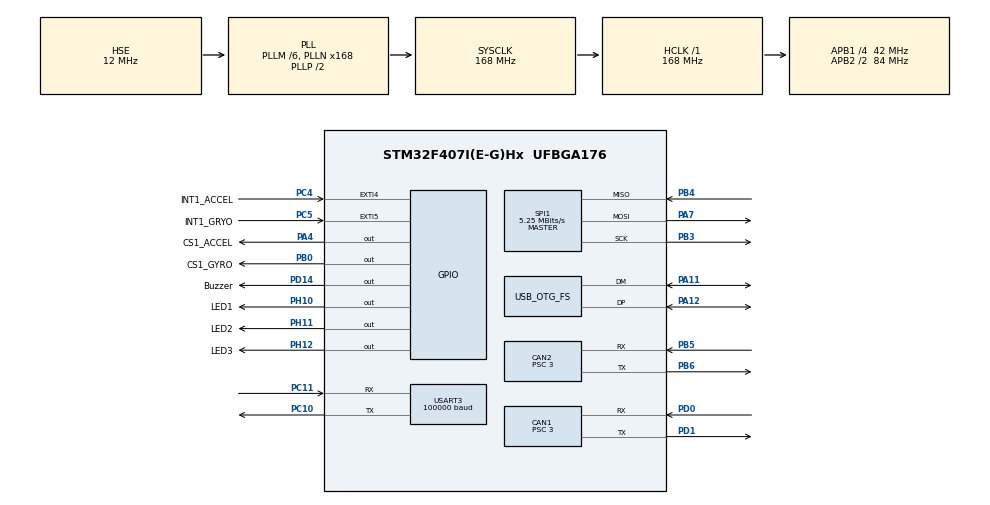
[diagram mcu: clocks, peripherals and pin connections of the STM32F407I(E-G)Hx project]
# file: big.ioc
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CAN1.ABOM=ENABLE
CAN1.AWUM=ENABLE
CAN1.BS1=CAN_BS1_10TQ
CAN1.BS2=CAN_BS2_3TQ
CAN1.CalculateBaudRate=1000000
CAN1.CalculateTimeBit=1000
CAN1.CalculateTimeQuantum=71.42857142857143
CAN1.Prescaler=3
CAN1.TXFP=ENABLE
CAN2.ABOM=ENABLE
CAN2.AWUM=ENABLE
CAN2.BS1=CAN_BS1_10TQ
CAN2.BS2=CAN_BS2_3TQ
CAN2.CalculateBaudRate=1000000
CAN2.CalculateTimeBit=1000
CAN2.CalculateTimeQuantum=71.42857142857143
CAN2.Prescaler=3
CAN2.TXFP=ENABLE
Dma.Request0=SPI1_RX
Dma.Request1=SPI1_TX
Dma.Request2=USART3_RX
Dma.SPI1_RX.0.Direction=DMA_PERIPH_TO_MEMORY
Dma.SPI1_RX.0.FIFOMode=DMA_FIFOMODE_DISABLE
Dma.SPI1_RX.0.Instance=DMA2_Stream0
Dma.SPI1_RX.0.MemDataAlignment=DMA_MDATAALIGN_BYTE
Dma.SPI1_RX.0.MemInc=DMA_MINC_ENABLE
Dma.SPI1_RX.0.Mode=DMA_NORMAL
Dma.SPI1_RX.0.PeriphDataAlignment=DMA_PDATAALIGN_BYTE
Dma.SPI1_RX.0.PeriphInc=DMA_PINC_DISABLE
Dma.SPI1_RX.0.Priority=DMA_PRIORITY_VERY_HIGH
Dma.SPI1_TX.1.Direction=DMA_MEMORY_TO_PERIPH
Dma.SPI1_TX.1.FIFOMode=DMA_FIFOMODE_DISABLE
Dma.SPI1_TX.1.Instance=DMA2_Stream3
Dma.SPI1_TX.1.MemDataAlignment=DMA_MDATAALIGN_BYTE
Dma.SPI1_TX.1.MemInc=DMA_MINC_ENABLE
Dma.SPI1_TX.1.Mode=DMA_NORMAL
Dma.SPI1_TX.1.PeriphDataAlignment=DMA_PDATAALIGN_BYTE
Dma.SPI1_TX.1.PeriphInc=DMA_PINC_DISABLE
Dma.SPI1_TX.1.Priority=DMA_PRIORITY_HIGH
Dma.USART3_RX.2.Direction=DMA_PERIPH_TO_MEMORY
Dma.USART3_RX.2.FIFOMode=DMA_FIFOMODE_DISABLE
Dma.USART3_RX.2.Instance=DMA1_Stream1
Dma.USART3_RX.2.MemDataAlignment=DMA_MDATAALIGN_BYTE
Dma.USART3_RX.2.MemInc=DMA_MINC_ENABLE
Dma.USART3_RX.2.Mode=DMA_CIRCULAR
Dma.USART3_RX.2.PeriphDataAlignment=DMA_PDATAALIGN_BYTE
Dma.USART3_RX.2.PeriphInc=DMA_PINC_DISABLE
Dma.USART3_RX.2.Priority=DMA_PRIORITY_HIGH
FREERTOS.Tasks01=LEDTask,0,128,StartLEDTask,As weak,NULL,Dynamic,NULL,NULL;ControlTask,0,1024,StartControlTask,As weak,NULL,Dynamic,NULL,NULL;MonitorTask,3,256,StartMonitorTask,As weak,NULL,Dynamic,NULL,NULL;CommunityTask,2,1024,StartCommunityTask,As weak,NULL,Dynamic,NULL,NULL
Mcu.Family=STM32F4
Mcu.Name=STM32F407I(E-G)Hx
Mcu.Package=UFBGA176
NVIC.CAN1_RX0_IRQn=true\:5\:0\:false\:false\:true\:true\:true\:true\:true
NVIC.CAN2_RX0_IRQn=true\:5\:0\:false\:false\:true\:true\:true\:true\:true
NVIC.DMA1_Stream1_IRQn=true\:5\:0\:false\:false\:true\:true\:false\:true\:true
NVIC.DMA2_Stream0_IRQn=true\:5\:0\:false\:false\:true\:true\:false\:true\:true
NVIC.DMA2_Stream3_IRQn=true\:5\:0\:false\:false\:true\:true\:false\:true\:true
NVIC.OTG_FS_IRQn=true\:5\:0\:false\:false\:true\:true\:false\:true\:true
NVIC.PriorityGroup=NVIC_PRIORITYGROUP_4
NVIC.TIM1_UP_TIM10_IRQn=true\:5\:0\:true\:false\:true\:true\:true\:true\:true
NVIC.TIM2_IRQn=true\:15\:0\:false\:false\:true\:false\:false\:true\:true
NVIC.TIM3_IRQn=true\:5\:0\:false\:false\:true\:true\:true\:true\:true
NVIC.TIM4_IRQn=true\:5\:0\:false\:false\:true\:true\:true\:true\:true
NVIC.TimeBase=TIM2_IRQn
NVIC.TimeBaseIP=TIM2
NVIC.USART3_IRQn=true\:5\:0\:false\:false\:true\:true\:true\:true\:true
PA11.Mode=Device_Only
PA11.Signal=USB_OTG_FS_DM
PA12.Mode=Device_Only
PA12.Signal=USB_OTG_FS_DP
PA13.Mode=Serial_Wire
PA13.Signal=SYS_JTMS-SWDIO
PA14.Mode=Serial_Wire
PA14.Signal=SYS_JTCK-SWCLK
PA4.GPIO_Label=CS1_ACCEL
PA4.GPIO_PuPd=GPIO_PULLUP
PA4.GPIO_Speed=GPIO_SPEED_FREQ_HIGH
PA4.PinState=GPIO_PIN_SET
PA4.Signal=GPIO_Output
PA7.Mode=Full_Duplex_Master
PA7.Signal=SPI1_MOSI
PA9.Signal=USART1_TX
PB0.GPIO_Label=CS1_GYRO
PB0.GPIO_PuPd=GPIO_PULLUP
PB0.GPIO_Speed=GPIO_SPEED_FREQ_HIGH
PB0.PinState=GPIO_PIN_SET
PB0.Signal=GPIO_Output
PB3.Mode=Full_Duplex_Master
PB3.Signal=SPI1_SCK
PB4.Mode=Full_Duplex_Master
PB4.Signal=SPI1_MISO
PB5.Mode=CAN_Activate
PB5.Signal=CAN2_RX
PB6.Mode=CAN_Activate
PB6.Signal=CAN2_TX
PC10.Mode=Asynchronous
PC10.Signal=USART3_TX
PC11.Mode=Asynchronous
PC11.Signal=USART3_RX
PC4.GPIO_Label=INT1_ACCEL
PC4.GPIO_ModeDefaultEXTI=GPIO_MODE_IT_FALLING
PC4.GPIO_PuPd=GPIO_PULLUP
PC4.Signal=GPXTI4
PC5.GPIO_Label=INT1_GRYO
PC5.GPIO_ModeDefaultEXTI=GPIO_MODE_IT_FALLING
PC5.GPIO_PuPd=GPIO_PULLUP
PC5.Signal=GPXTI5
PD0.Mode=CAN_Activate
PD0.Signal=CAN1_RX
PD1.Mode=CAN_Activate
PD1.Signal=CAN1_TX
PD14.GPIO_Label=Buzzer
PD14.GPIO_PuPd=GPIO_PULLUP
PD14.GPIO_Speed=GPIO_SPEED_FREQ_LOW
PD14.PinState=GPIO_PIN_SET
PD14.Signal=GPIO_Output
PH0-OSC_IN.Mode=HSE-External-Oscillator
PH0-OSC_IN.Signal=RCC_OSC_IN
PH1-OSC_OUT.Mode=HSE-External-Oscillator
PH1-OSC_OUT.Signal=RCC_OSC_OUT
PH10.GPIO_Label=LED1
PH10.Signal=GPIO_Output
PH11.GPIO_Label=LED2
PH11.PinState=GPIO_PIN_RESET
PH11.Signal=GPIO_Output
PH12.GPIO_Label=LED3
PH12.Signal=GPIO_Output
ProjectManager.HeapSize=0x200
ProjectManager.StackSize=0x400
ProjectManager.TargetToolchain=MDK-ARM V5.32
RCC.48MHZClocksFreq_Value=48000000
RCC.AHBFreq_Value=168000000
RCC.APB1CLKDivider=RCC_HCLK_DIV4
RCC.APB1Freq_Value=42000000
RCC.APB1TimFreq_Value=84000000
RCC.APB2CLKDivider=RCC_HCLK_DIV2
RCC.APB2Freq_Value=84000000
RCC.APB2TimFreq_Value=168000000
RCC.CortexFreq_Value=168000000
RCC.HCLKFreq_Value=168000000
RCC.HSE_VALUE=12000000
RCC.HSI_VALUE=16000000
RCC.LSE_VALUE=32768
RCC.PLLM=6
RCC.PLLN=168
RCC.PLLQ=7
RCC.SYSCLKFreq_VALUE=168000000
RCC.SYSCLKSource=RCC_SYSCLKSOURCE_PLLCLK
RCC.VCOOutputFreq_Value=336000000
SPI1.BaudRatePrescaler=SPI_BAUDRATEPRESCALER_16
SPI1.CLKPhase=SPI_PHASE_2EDGE
SPI1.CLKPolarity=SPI_POLARITY_HIGH
SPI1.CalculateBaudRate=5.25 MBits/s
SPI1.Direction=SPI_DIRECTION_2LINES
SPI1.Mode=SPI_MODE_MASTER
SPI1.VirtualType=VM_MASTER
TIM1.AutoReloadPreload=TIM_AUTORELOAD_PRELOAD_ENABLE
TIM1.Period=168-1
TIM1.Prescaler=1000-1
TIM3.AutoReloadPreload=TIM_AUTORELOAD_PRELOAD_ENABLE
TIM3.Period=10000
TIM3.Prescaler=8400
TIM4.AutoReloadPreload=TIM_AUTORELOAD_PRELOAD_ENABLE
TIM4.Period=499
TIM4.Prescaler=83
USART3.BaudRate=100000
USART3.Parity=PARITY_EVEN
USART3.VirtualMode=VM_ASYNC
USB_DEVICE.APP_RX_DATA_SIZE-CDC_FS=128
USB_DEVICE.APP_TX_DATA_SIZE-CDC_FS=128
USB_DEVICE.CLASS_NAME_FS=CDC
USB_DEVICE.VirtualMode-CDC_FS=Cdc
USB_DEVICE.VirtualModeFS=Cdc_FS
USB_OTG_FS.VirtualMode=Device_Only
VP_FREERTOS_VS_CMSIS_V1.Mode=CMSIS_V1
VP_IWDG_VS_IWDG.Mode=IWDG_Activate
VP_SYS_VS_tim2.Mode=TIM2
VP_TIM1_VS_ClockSourceINT.Mode=Internal
VP_TIM3_VS_ClockSourceINT.Mode=Internal
VP_TIM4_VS_ClockSourceINT.Mode=Internal
VP_TIM6_VS_ClockSourceINT.Mode=Enable_Timer
VP_USB_DEVICE_VS_USB_DEVICE_CDC_FS.Mode=CDC_FS
board=custom

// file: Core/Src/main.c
/* USER CODE BEGIN Header */
/**
  ******************************************************************************
  * @file           : main.c
  * @brief          : Main program body
  ******************************************************************************
  * @attention
  *
  * Copyright (c) 2024 STMicroelectronics.
  * All rights reserved.
  *
  * This software is licensed under terms that can be found in the LICENSE file
  * in the root directory of this software component.
  * If no LICENSE file comes with this software, it is provided AS-IS.
  *
  ******************************************************************************
  */
/* USER CODE END Header */
#include "main.h"
#include "cmsis_os.h"
#include "can.h"
#include "dma.h"
#include "iwdg.h"
#include "spi.h"
#include "tim.h"
#include "usart.h"
#include "usb_device.h"
#include "gpio.h"

/* USER CODE BEGIN Includes */
#include "driver.h"
#include "device.h"
#include "WL_debug_uart.h"
#include "robot.h"
/* USER CODE END Includes */

void SystemClock_Config(void);
void MX_FREERTOS_Init(void);

int main(void)
{

  /* MCU Configuration--------------------------------------------------------*/

  /* Reset of all peripherals, Initializes the Flash interface and the Systick. */
  HAL_Init();

  /* Configure the system clock */
  SystemClock_Config();

  /* Initialize all configured peripherals */
  MX_GPIO_Init();
  MX_DMA_Init();
  MX_SPI1_Init();
  MX_USART3_UART_Init();
  MX_CAN1_Init();
  MX_CAN2_Init();
  MX_TIM4_Init();
//  MX_IWDG_Init();
  MX_TIM1_Init();
  MX_TIM6_Init();
  MX_TIM3_Init();
  /* USER CODE BEGIN 2 */
  WL_UART_Init();
  MX_USB_DEVICE_Init();
  imu_sensor.init(&imu_sensor);

  DEVICE_Init();
  DRIVER_Init();

  /* USER CODE END 2 */

  /* Call init function for freertos objects (in cmsis_os2.c) */
  MX_FREERTOS_Init();

  /* Start scheduler */
  osKernelStart();

  /* We should never get here as control is now taken by the scheduler */

  /* Infinite loop */
  while (1)
  {

  }
}

void SystemClock_Config(void)
{
  RCC_OscInitTypeDef RCC_OscInitStruct = {0};
  RCC_ClkInitTypeDef RCC_ClkInitStruct = {0};

  /** Configure the main internal regulator output voltage
  */
  __HAL_RCC_PWR_CLK_ENABLE();
  __HAL_PWR_VOLTAGESCALING_CONFIG(PWR_REGULATOR_VOLTAGE_SCALE1);

  /** Initializes the RCC Oscillators according to the specified parameters
  * in the RCC_OscInitTypeDef structure.
  */
  RCC_OscInitStruct.OscillatorType = RCC_OSCILLATORTYPE_LSI|RCC_OSCILLATORTYPE_HSE;
  RCC_OscInitStruct.HSEState = RCC_HSE_ON;
  RCC_OscInitStruct.LSIState = RCC_LSI_ON;
  RCC_OscInitStruct.PLL.PLLState = RCC_PLL_ON;
  RCC_OscInitStruct.PLL.PLLSource = RCC_PLLSOURCE_HSE;
  RCC_OscInitStruct.PLL.PLLM = 6;
  RCC_OscInitStruct.PLL.PLLN = 168;
  RCC_OscInitStruct.PLL.PLLP = RCC_PLLP_DIV2;
  RCC_OscInitStruct.PLL.PLLQ = 7;
  if (HAL_RCC_OscConfig(&RCC_OscInitStruct) != HAL_OK)
  {
    Error_Handler();
  }

  /** Initializes the CPU, AHB and APB buses clocks
  */
  RCC_ClkInitStruct.ClockType = RCC_CLOCKTYPE_HCLK|RCC_CLOCKTYPE_SYSCLK
                              |RCC_CLOCKTYPE_PCLK1|RCC_CLOCKTYPE_PCLK2;
  RCC_ClkInitStruct.SYSCLKSource = RCC_SYSCLKSOURCE_PLLCLK;
  RCC_ClkInitStruct.AHBCLKDivider = RCC_SYSCLK_DIV1;
  RCC_ClkInitStruct.APB1CLKDivider = RCC_HCLK_DIV4;
  RCC_ClkInitStruct.APB2CLKDivider = RCC_HCLK_DIV2;

  if (HAL_RCC_ClockConfig(&RCC_ClkInitStruct, FLASH_LATENCY_5) != HAL_OK)
  {
    Error_Handler();
  }
}

void HAL_TIM_PeriodElapsedCallback(TIM_HandleTypeDef *htim)
{
  /* USER CODE BEGIN Callback 0 */
    static uint16_t i = 0;
	if (htim->Instance == TIM4)     //cubemx配置时，需要将定时器频率改成1khz
	{
		if (i++ == 60000)
		{
			i = 0;
		}

		if ((imu_sensor.work_state.err_code == IMU_NONE_ERR) || \
				(imu_sensor.work_state.err_code == IMU_DATA_CALI))
		{
			imu_sensor.update(&imu_sensor);
		}
		//上一次
		if(robot.booster->last_mode == READY && vision.info->tx_info->mode == 3)
		{
			if(small_buff_cnt != 0 )
			{
				small_buff_cnt--;

			}

		}

//		if(time_vision>1)
//		{
//			time_vision--;
//		}
		/*后相机自瞄停顿*/
		if(patrol_wait >1)
		{
			patrol_wait--;
		}

	}
  /* USER CODE END Callback 0 */
  if (htim->Instance == TIM2)
  {
    HAL_IncTick();
  }
}

void Error_Handler(void)
{
  __disable_irq();
  while (1)
  {
  }
}

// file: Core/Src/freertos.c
/* USER CODE BEGIN Header */
/**
  ******************************************************************************
  * File Name          : freertos.c
  * Description        : Code for freertos applications
  ******************************************************************************
  * @attention
  *
  * Copyright (c) 2024 STMicroelectronics.
  * All rights reserved.
  *
  * This software is licensed under terms that can be found in the LICENSE file
  * in the root directory of this software component.
  * If no LICENSE file comes with this software, it is provided AS-IS.
  *
  ******************************************************************************
  */
/* USER CODE END Header */

#include "FreeRTOS.h"
#include "task.h"
#include "main.h"
#include "cmsis_os.h"

osThreadId LEDTaskHandle;
osThreadId ControlTaskHandle;
osThreadId MonitorTaskHandle;
osThreadId CommunityTaskHandle;

void StartLEDTask(void const * argument);
void StartControlTask(void const * argument);
void StartMonitorTask(void const * argument);
void StartCommunityTask(void const * argument);

extern void MX_USB_DEVICE_Init(void);
void MX_FREERTOS_Init(void); /* (MISRA C 2004 rule 8.1) */

/* GetIdleTaskMemory prototype (linked to static allocation support) */
void vApplicationGetIdleTaskMemory( StaticTask_t **ppxIdleTaskTCBBuffer, StackType_t **ppxIdleTaskStackBuffer, uint32_t *pulIdleTaskStackSize );

/* USER CODE BEGIN GET_IDLE_TASK_MEMORY */
static StaticTask_t xIdleTaskTCBBuffer;
static StackType_t xIdleStack[configMINIMAL_STACK_SIZE];

void vApplicationGetIdleTaskMemory( StaticTask_t **ppxIdleTaskTCBBuffer, StackType_t **ppxIdleTaskStackBuffer, uint32_t *pulIdleTaskStackSize )
{
  *ppxIdleTaskTCBBuffer = &xIdleTaskTCBBuffer;
  *ppxIdleTaskStackBuffer = &xIdleStack[0];
  *pulIdleTaskStackSize = configMINIMAL_STACK_SIZE;
  /* place for user code */
}
/* USER CODE END GET_IDLE_TASK_MEMORY */

void MX_FREERTOS_Init(void) {

  /* Create the thread(s) */
  /* definition and creation of LEDTask */
  osThreadDef(LEDTask, StartLEDTask, osPriorityNormal, 0, 128);
  LEDTaskHandle = osThreadCreate(osThread(LEDTask), NULL);

  /* definition and creation of ControlTask */
  osThreadDef(ControlTask, StartControlTask, osPriorityNormal, 0, 1024);
  ControlTaskHandle = osThreadCreate(osThread(ControlTask), NULL);

  /* definition and creation of MonitorTask */
  osThreadDef(MonitorTask, StartMonitorTask, osPriorityRealtime, 0, 256);
  MonitorTaskHandle = osThreadCreate(osThread(MonitorTask), NULL);

  /* definition and creation of CommunityTask */
  osThreadDef(CommunityTask, StartCommunityTask, osPriorityHigh, 0, 1024);
  CommunityTaskHandle = osThreadCreate(osThread(CommunityTask), NULL);

}

__weak void StartLEDTask(void const * argument)
{
  /* init code for USB_DEVICE */
  MX_USB_DEVICE_Init();
  for(;;)
  {
    osDelay(1);
  }
}

__weak void StartControlTask(void const * argument)
{
  for(;;)
  {
    osDelay(1);
  }
}

__weak void StartMonitorTask(void const * argument)
{
  for(;;)
  {
    osDelay(1);
  }
}

__weak void StartCommunityTask(void const * argument)
{
  for(;;)
  {
    osDelay(1);
  }
}
